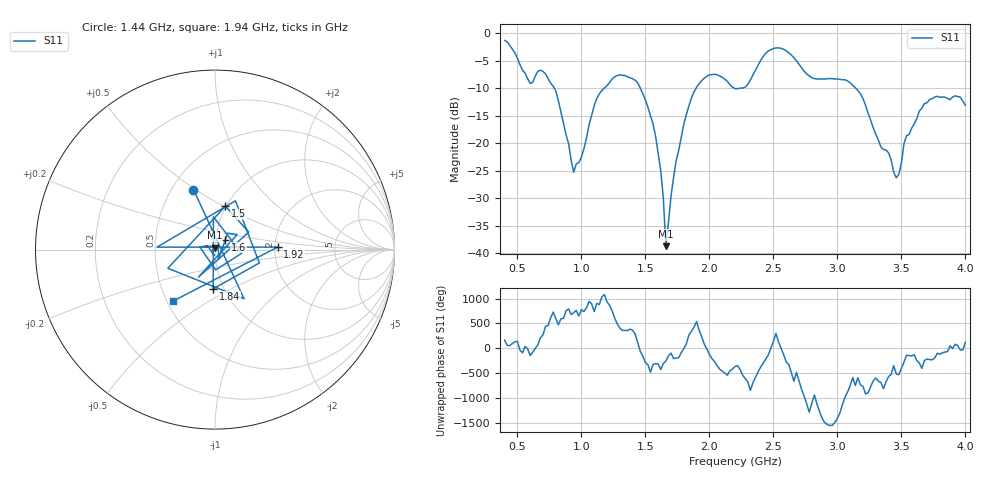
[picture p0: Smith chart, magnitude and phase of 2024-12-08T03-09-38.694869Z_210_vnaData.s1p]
!Created with skrf (http://scikit-rf.org).
# Hz S RI R 50.0
!freq ReS11 ImS11
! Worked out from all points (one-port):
!   181 points, 400 MHz to 4 GHz, reference 50 ohm
!   lowest |S11| = -38.7 dB at 1.66 GHz (marker M1), VSWR 1.02, Z = 49.7 + j1.12 ohm
!   |S11| at or under -10 dB: 788.8 MHz to 1.177 GHz (388.6 MHz wide, 39.5 % of centre); 1.461 GHz to 1.895 GHz (434 MHz wide, 25.9 % of centre); 3.145 GHz to end of sweep (the widest 3 of 4)
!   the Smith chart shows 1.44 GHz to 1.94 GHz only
!   S11 on the Smith chart (normalised r, x): 1.44 GHz: 0.64, +0.49; 1.5 GHz: 0.99, +0.51; 1.6 GHz: 1.12, +0.12; 1.84 GHz: 0.89, -0.41; 1.92 GHz: 2.07, +0.07; 1.94 GHz: 0.53, -0.36
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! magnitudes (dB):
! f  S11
! 400 MHz  -1.3
! 600 MHz  -9.1
! 720 MHz  -7.4
! 800 MHz  -10.5
! 860 MHz  -16.4
! 940 MHz  -25.3
! 1.12 GHz  -11.8
! 1.3 GHz  -7.5
! 1.44 GHz  -9.0
! 1.5 GHz  -12.1
! 1.6 GHz  -21.9
! 1.64 GHz  -30.0
! 1.66 GHz  -38.7
! 1.7 GHz  -29.6
! 1.76 GHz  -21.3
! 1.84 GHz  -13.2
! 1.92 GHz  -9.1
! 1.94 GHz  -8.6
! 2.2 GHz  -10.0
! 2.46 GHz  -3.2
! 2.66 GHz  -4.4
! 2.8 GHz  -8.1
! 3.1 GHz  -9.0
! 3.2 GHz  -11.9
! 3.46 GHz  -26.3
! 3.56 GHz  -18.4
! 3.72 GHz  -12.0
! 4 GHz  -13.1
